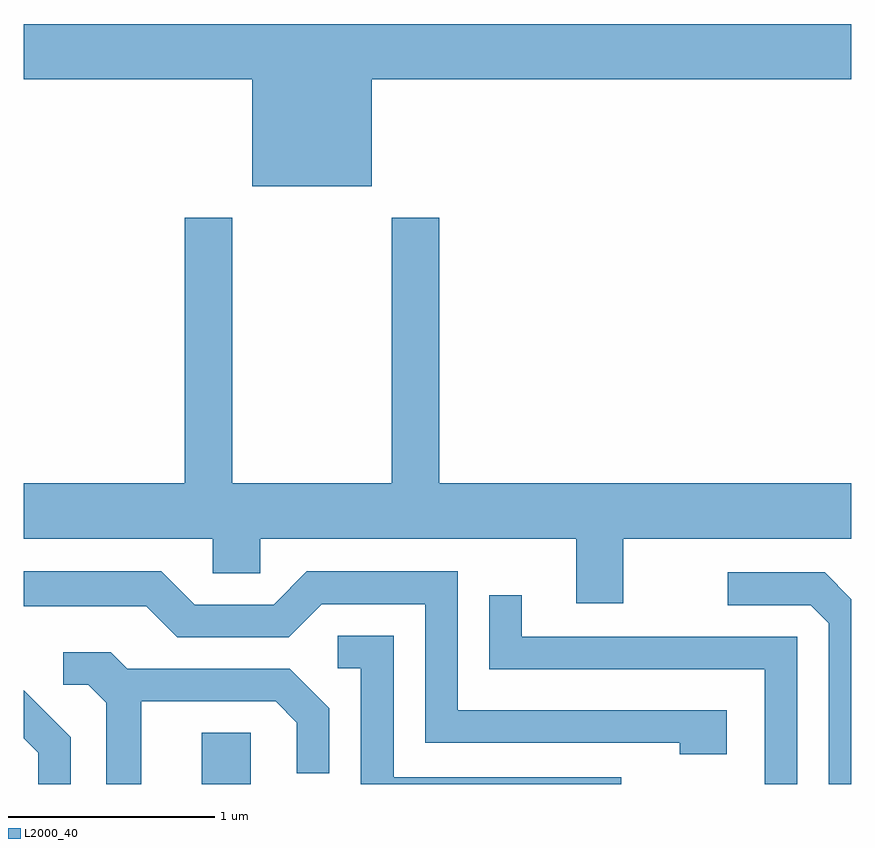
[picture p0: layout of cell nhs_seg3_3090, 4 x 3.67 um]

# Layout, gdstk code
import gdstk
lib = gdstk.Library(unit=1e-6, precision=1e-09)
def R(c, l, rs):  # rectangles x0, y0, x1, y1
    for r in rs: c.add(gdstk.rectangle(r[:2], r[2:], *l))
def P(c, l, *ps):  # polygons
    for p in ps: c.add(gdstk.Polygon(p, *l))
L2000_40 = (2000, 40)

nhs_seg3_3090 = lib.new_cell('nhs_seg3_3090')
R(nhs_seg3_3090, L2000_40, [(276.471,1175.892,276.709,1176.139)])
P(nhs_seg3_3090, L2000_40, [(277.294,1179.296),(279.611,1179.296),(279.611,1179.564),(275.611,1179.564),(275.611,1179.296),(276.716,1179.296),(276.716,1178.781),(277.294,1178.781)],
  [(278.509,1177.076),(279.611,1177.076),(279.611,1177.344),(277.619,1177.344),(277.619,1178.629),(277.391,1178.629),(277.391,1177.344),(276.619,1177.344),(276.619,1178.629),(276.391,1178.629),(276.391,1177.344),(275.611,1177.344),(275.611,1177.076),(276.526,1177.076),(276.526,1176.911),(276.754,1176.911),(276.754,1177.076),(278.281,1177.076),(278.281,1176.766),(278.509,1176.766)],
  [(279.009,1176.249),(277.709,1176.249),(277.709,1176.919),(276.979,1176.919),(276.819,1176.759),(276.437,1176.759),(276.277,1176.919),(275.611,1176.919),(275.611,1176.751),(276.204,1176.751),(276.354,1176.601),(276.892,1176.601),(277.052,1176.761),(277.551,1176.761),(277.551,1176.091),(278.781,1176.091),(278.781,1176.036),(279.009,1176.036)],
  [(279.611,1176.785),(279.482,1176.914),(279.013,1176.914),(279.013,1176.756),(279.414,1176.756),(279.501,1176.669),(279.501,1175.892),(279.611,1175.892)],
  [(279.349,1176.604),(278.019,1176.604),(278.019,1176.803),(277.861,1176.803),(277.861,1176.446),(279.191,1176.446),(279.191,1175.892),(279.349,1175.892)],
  [(278.498,1175.924),(277.399,1175.924),(277.399,1176.609),(277.128,1176.609),(277.128,1176.451),(277.241,1176.451),(277.241,1175.892),(278.498,1175.892)],
  [(276.179,1176.291),(276.829,1176.291),(276.931,1176.189),(276.931,1175.943),(277.089,1175.943),(277.089,1176.257),(276.897,1176.449),(276.112,1176.449),(276.032,1176.529),(275.803,1176.529),(275.803,1176.371),(275.924,1176.371),(276.011,1176.284),(276.011,1175.892),(276.179,1175.892)],
  [(275.839,1176.117),(275.611,1176.345),(275.611,1176.114),(275.681,1176.044),(275.681,1175.892),(275.839,1175.892)])

lib.write_gds('nhs_seg3_3090.gds')
